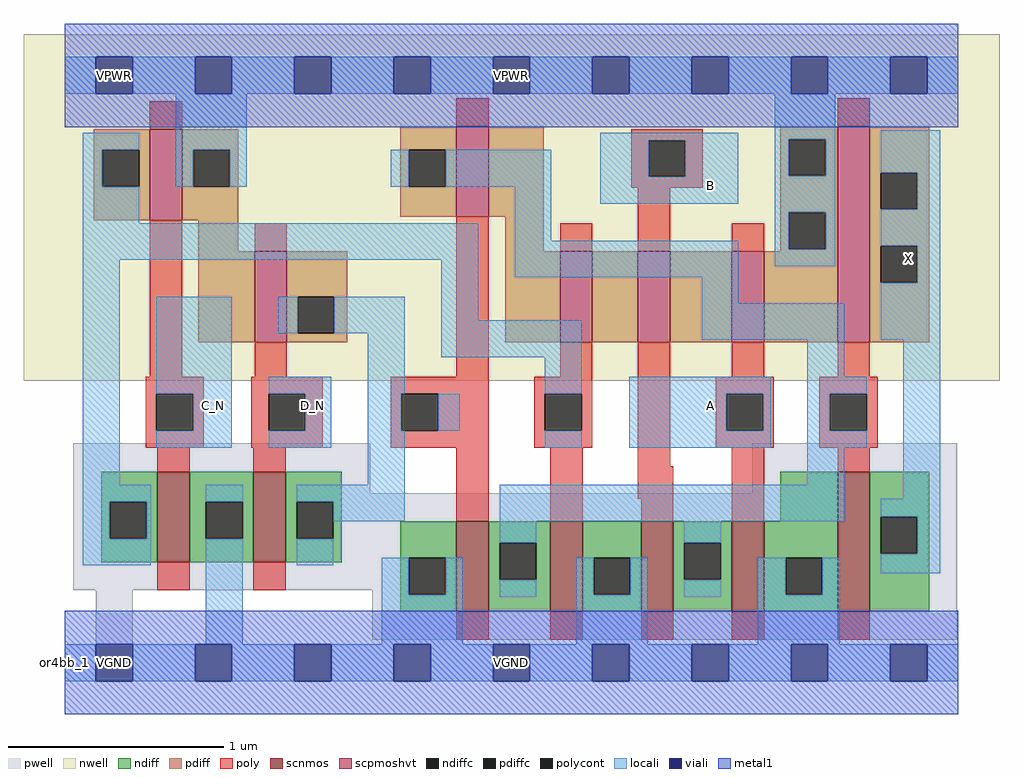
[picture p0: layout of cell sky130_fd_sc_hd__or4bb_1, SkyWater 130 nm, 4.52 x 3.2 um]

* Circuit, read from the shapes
.subckt sky130_fd_sc_hd__or4bb_1 A B C_N D_N VGND VNB VPB VPWR X
XM1 VGND C_N n1 VNB sky130_fd_pr__nfet_01v8 w=0.42 l=0.15
XM2 n2 D_N VGND VNB sky130_fd_pr__nfet_01v8 w=0.42 l=0.15
XM3 n3 n2 VGND VNB sky130_fd_pr__nfet_01v8 w=0.42 l=0.15
XM4 VGND n1 n3 VNB sky130_fd_pr__nfet_01v8 w=0.42 l=0.15
XM5 n3 B VGND VNB sky130_fd_pr__nfet_01v8 w=0.42 l=0.15
XM6 VGND A n3 VNB sky130_fd_pr__nfet_01v8 w=0.42 l=0.15
XM7 X n3 VGND VNB sky130_fd_pr__nfet_01v8 w=0.65 l=0.15
XM8 VPWR C_N n1 VPB sky130_fd_pr__pfet_01v8_hvt w=0.42 l=0.15
XM9 n2 D_N VPWR VPB sky130_fd_pr__pfet_01v8_hvt w=0.42 l=0.15
XM10 n4 n2 n3 VPB sky130_fd_pr__pfet_01v8_hvt w=0.42 l=0.15
XM11 n5 n1 n4 VPB sky130_fd_pr__pfet_01v8_hvt w=0.42 l=0.15
XM12 n6 B n5 VPB sky130_fd_pr__pfet_01v8_hvt w=0.42 l=0.15
XM13 VPWR A n6 VPB sky130_fd_pr__pfet_01v8_hvt w=0.42 l=0.15
XM14 X n3 VPWR VPB sky130_fd_pr__pfet_01v8_hvt w=1 l=0.15
.ends

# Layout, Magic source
magic
tech sky130A
magscale 1 2
<< nwell >>
rect -38 261 866 582
<< pwell >>
rect 8 157 283 203
rect 637 157 827 203
rect 8 67 827 157
rect 29 -17 63 67
rect 285 21 827 67
<< scnmos >>
rect 86 93 116 177
rect 175 93 205 177
rect 363 47 393 131
rect 450 47 480 131
rect 534 47 564 131
rect 618 47 648 131
rect 716 47 746 177
<< scpmoshvt >>
rect 79 410 109 494
rect 363 413 393 497
rect 176 297 206 381
rect 459 297 489 381
rect 531 297 561 381
rect 618 297 648 381
rect 716 297 746 497
<< ndiff >>
rect 34 149 86 177
rect 34 115 42 149
rect 76 115 86 149
rect 34 93 86 115
rect 116 149 175 177
rect 116 115 131 149
rect 165 115 175 149
rect 116 93 175 115
rect 205 149 257 177
rect 205 115 215 149
rect 249 115 257 149
rect 663 131 716 177
rect 205 93 257 115
rect 311 97 363 131
rect 311 63 319 97
rect 353 63 363 97
rect 311 47 363 63
rect 393 111 450 131
rect 393 77 403 111
rect 437 77 450 111
rect 393 47 450 77
rect 480 97 534 131
rect 480 63 490 97
rect 524 63 534 97
rect 480 47 534 63
rect 564 111 618 131
rect 564 77 574 111
rect 608 77 618 111
rect 564 47 618 77
rect 648 97 716 131
rect 648 63 668 97
rect 702 63 716 97
rect 648 47 716 63
rect 746 135 801 177
rect 746 101 756 135
rect 790 101 801 135
rect 746 47 801 101
<< pdiff >>
rect 27 475 79 494
rect 27 441 35 475
rect 69 441 79 475
rect 27 410 79 441
rect 109 475 161 494
rect 109 441 119 475
rect 153 441 161 475
rect 109 410 161 441
rect 311 475 363 497
rect 311 441 319 475
rect 353 441 363 475
rect 311 413 363 441
rect 393 413 444 497
rect 663 485 716 497
rect 663 451 671 485
rect 705 451 716 485
rect 124 381 161 410
rect 124 297 176 381
rect 206 339 262 381
rect 206 305 216 339
rect 250 305 262 339
rect 206 297 262 305
rect 408 381 444 413
rect 663 417 716 451
rect 663 383 671 417
rect 705 383 716 417
rect 663 381 716 383
rect 408 297 459 381
rect 489 297 531 381
rect 561 297 618 381
rect 648 297 716 381
rect 746 454 801 497
rect 746 420 756 454
rect 790 420 801 454
rect 746 386 801 420
rect 746 352 756 386
rect 790 352 801 386
rect 746 297 801 352
<< ndiffc >>
rect 42 115 76 149
rect 131 115 165 149
rect 215 115 249 149
rect 319 63 353 97
rect 403 77 437 111
rect 490 63 524 97
rect 574 77 608 111
rect 668 63 702 97
rect 756 101 790 135
<< pdiffc >>
rect 35 441 69 475
rect 119 441 153 475
rect 319 441 353 475
rect 671 451 705 485
rect 216 305 250 339
rect 671 383 705 417
rect 756 420 790 454
rect 756 352 790 386
<< poly >>
rect 79 494 109 520
rect 363 497 393 523
rect 716 497 746 523
rect 525 484 591 494
rect 525 450 541 484
rect 575 450 591 484
rect 525 440 591 450
rect 79 265 109 410
rect 176 381 206 407
rect 176 265 206 297
rect 363 265 393 413
rect 459 381 489 407
rect 531 381 561 440
rect 618 381 648 407
rect 459 265 489 297
rect 75 249 129 265
rect 75 215 85 249
rect 119 215 129 249
rect 75 199 129 215
rect 173 249 239 265
rect 173 215 189 249
rect 223 215 239 249
rect 173 199 239 215
rect 302 249 393 265
rect 302 215 312 249
rect 346 215 393 249
rect 302 199 393 215
rect 435 249 489 265
rect 435 215 445 249
rect 479 215 489 249
rect 435 199 489 215
rect 86 177 116 199
rect 175 177 205 199
rect 363 131 393 199
rect 450 131 480 199
rect 531 182 561 297
rect 618 265 648 297
rect 716 265 746 297
rect 603 249 657 265
rect 603 215 613 249
rect 647 215 657 249
rect 603 199 657 215
rect 699 249 753 265
rect 699 215 709 249
rect 743 215 753 249
rect 699 199 753 215
rect 531 152 564 182
rect 534 131 564 152
rect 618 131 648 199
rect 716 177 746 199
rect 86 67 116 93
rect 175 67 205 93
rect 363 21 393 47
rect 450 21 480 47
rect 534 21 564 47
rect 618 21 648 47
rect 716 21 746 47
<< polycont >>
rect 541 450 575 484
rect 85 215 119 249
rect 189 215 223 249
rect 312 215 346 249
rect 445 215 479 249
rect 613 215 647 249
rect 709 215 743 249
<< locali >>
rect 0 527 29 561
rect 63 527 121 561
rect 155 527 213 561
rect 247 527 305 561
rect 339 527 397 561
rect 431 527 489 561
rect 523 527 581 561
rect 615 527 673 561
rect 707 527 765 561
rect 799 527 828 561
rect 17 475 69 491
rect 17 441 35 475
rect 103 475 169 527
rect 496 484 624 491
rect 103 441 119 475
rect 153 441 169 475
rect 302 441 319 475
rect 353 441 451 475
rect 17 407 69 441
rect 17 373 383 407
rect 17 165 51 373
rect 85 249 155 339
rect 198 305 216 339
rect 250 305 315 339
rect 119 215 155 249
rect 85 199 155 215
rect 189 249 247 265
rect 223 215 247 249
rect 189 199 247 215
rect 281 249 315 305
rect 349 317 383 373
rect 417 391 451 441
rect 496 450 541 484
rect 575 450 624 484
rect 496 425 624 450
rect 658 485 714 527
rect 658 451 671 485
rect 705 451 714 485
rect 658 417 714 451
rect 417 357 624 391
rect 658 383 671 417
rect 705 383 714 417
rect 658 367 714 383
rect 756 454 811 493
rect 790 420 811 454
rect 756 386 811 420
rect 590 333 624 357
rect 790 352 811 386
rect 349 283 479 317
rect 590 299 722 333
rect 756 299 811 352
rect 445 249 479 283
rect 688 265 722 299
rect 281 215 312 249
rect 346 215 366 249
rect 281 165 315 215
rect 445 199 479 215
rect 523 249 654 265
rect 523 215 613 249
rect 647 215 654 249
rect 523 199 654 215
rect 688 249 743 265
rect 688 215 709 249
rect 688 199 743 215
rect 688 165 722 199
rect 17 149 80 165
rect 17 115 42 149
rect 76 115 80 149
rect 17 90 80 115
rect 131 149 165 165
rect 131 17 165 115
rect 215 149 315 165
rect 249 131 315 149
rect 403 131 722 165
rect 777 152 811 299
rect 756 135 811 152
rect 215 90 249 115
rect 403 111 437 131
rect 294 63 319 97
rect 353 63 369 97
rect 294 17 369 63
rect 574 111 608 131
rect 403 61 437 77
rect 474 63 490 97
rect 524 63 540 97
rect 474 17 540 63
rect 790 101 811 135
rect 574 61 608 77
rect 642 63 668 97
rect 702 63 718 97
rect 756 83 811 101
rect 642 17 718 63
rect 0 -17 29 17
rect 63 -17 121 17
rect 155 -17 213 17
rect 247 -17 305 17
rect 339 -17 397 17
rect 431 -17 489 17
rect 523 -17 581 17
rect 615 -17 673 17
rect 707 -17 765 17
rect 799 -17 828 17
<< viali >>
rect 29 527 63 561
rect 121 527 155 561
rect 213 527 247 561
rect 305 527 339 561
rect 397 527 431 561
rect 489 527 523 561
rect 581 527 615 561
rect 673 527 707 561
rect 765 527 799 561
rect 29 -17 63 17
rect 121 -17 155 17
rect 213 -17 247 17
rect 305 -17 339 17
rect 397 -17 431 17
rect 489 -17 523 17
rect 581 -17 615 17
rect 673 -17 707 17
rect 765 -17 799 17
<< metal1 >>
rect 0 561 828 592
rect 0 527 29 561
rect 63 527 121 561
rect 155 527 213 561
rect 247 527 305 561
rect 339 527 397 561
rect 431 527 489 561
rect 523 527 581 561
rect 615 527 673 561
rect 707 527 765 561
rect 799 527 828 561
rect 0 496 828 527
rect 0 17 828 48
rect 0 -17 29 17
rect 63 -17 121 17
rect 155 -17 213 17
rect 247 -17 305 17
rect 339 -17 397 17
rect 431 -17 489 17
rect 523 -17 581 17
rect 615 -17 673 17
rect 707 -17 765 17
rect 799 -17 828 17
rect 0 -48 828 -17
<< labels >>
flabel locali s 581 221 615 255 0 FreeSans 400 0 0 0 A
port 1 nsew signal input
flabel locali s 765 357 799 391 0 FreeSans 400 0 0 0 X
port 9 nsew signal output
flabel locali s 581 425 615 459 0 FreeSans 400 0 0 0 B
port 2 nsew signal input
flabel locali s 213 221 247 255 0 FreeSans 400 0 0 0 D_N
port 4 nsew signal input
flabel locali s 121 221 155 255 0 FreeSans 400 0 0 0 C_N
port 3 nsew signal input
flabel metal1 s 29 527 63 561 0 FreeSans 200 0 0 0 VPWR
port 8 nsew power bidirectional abutment
flabel metal1 s 29 -17 63 17 0 FreeSans 200 0 0 0 VGND
port 5 nsew ground bidirectional abutment
flabel nwell s 29 527 63 561 0 FreeSans 200 0 0 0 VPB
port 7 nsew power bidirectional
flabel pwell s 29 -17 63 17 0 FreeSans 200 0 0 0 VNB
port 6 nsew ground bidirectional
rlabel comment s 0 0 0 0 4 or4bb_1
rlabel metal1 s 0 -48 828 48 1 VGND
port 5 nsew ground bidirectional abutment
rlabel metal1 s 0 496 828 592 1 VPWR
port 8 nsew power bidirectional abutment
<< properties >>
string FIXED_BBOX 0 0 828 544
string GDS_END 1097624
string GDS_FILE $PDKPATH/libs.ref/sky130_fd_sc_hd/gds/sky130_fd_sc_hd.gds
string GDS_START 1090576
string LEFclass CORE
string LEFsite unithd
string LEFsymmetry X Y R90
string path 0.000 0.000 4.140 0.000 
<< end >>
